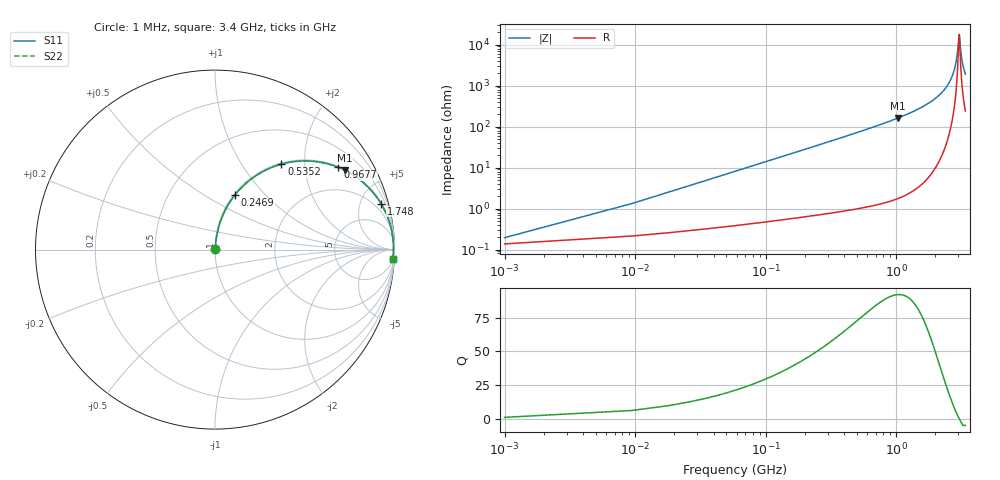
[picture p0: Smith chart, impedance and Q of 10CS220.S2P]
! Coilcraft 1008CS-220 Chip Inductor
! 02 July 2002
# MHZ S MA R 50
!Freq  MagS11  AngS11  MagS21  AngS21  MagS12  AngS12  MagS22  AngS22
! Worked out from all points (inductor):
!   402 points, 1 MHz to 3.4 GHz, reference 50 ohm
!   read as one part in series: L = 22 nH near 17.96 MHz
!   highest Q = 92.3 at 1.036 GHz (marker M1), where L = 24.9 nH
!   self-resonance near 3.045 GHz
!   S11 on the Smith chart (normalised r, x): 1 MHz: 1.00, +0.00; 246.9 MHz: 1.01, +0.69; 535.2 MHz: 1.02, +1.53; 967.7 MHz: 1.03, +2.98; 1.748 GHz: 1.11, +7.20; 3.4 GHz: 6, -38
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1  0.001943 45.2  0.9986 -0.1  0.9986 -0.1  0.001943 45.2
26.44  0.03654 83.4  0.9964 -2.1  0.9964 -2.1  0.03654 83.4
43.4  0.05979 83.3  0.9948 -3.4  0.9948 -3.4  0.05979 83.3
60.36  0.08295 82.6  0.9927 -4.8  0.9927 -4.8  0.08295 82.6
128.2  0.174 78.3  0.9797 -10.0  0.9797 -10.0  0.174 78.3
246.92  0.323 70.0  0.94 -18.8  0.94 -18.8  0.323 70.0
535.24  0.603 52.2  0.7898 -37.1  0.7898 -37.1  0.603 52.2
569.16  0.6279 50.4  0.7702 -38.9  0.7702 -38.9  0.6279 50.4
967.72  0.8258 33.7  0.5551 -55.7  0.5551 -55.7  0.8258 33.7
1035.56  0.8466 31.5  0.5231 -57.8  0.5231 -57.8  0.8466 31.5
1137.32  0.8732 28.6  0.478 -60.8  0.478 -60.8  0.8732 28.6
1705.48  0.9564 16.2  0.2786 -73.0  0.2786 -73.0  0.9564 16.2
1747.88  0.9598 15.5  0.2666 -73.7  0.2666 -73.7  0.9598 15.5
2273.64  0.986 8.0  0.1392 -80.3  0.1392 -80.3  0.986 8.0
2621.32  0.9927 4.1  0.07143 -82.1  0.07143 -82.1  0.9927 4.1
2841.8  0.9943 1.9  0.03343 -79.2  0.03343 -79.2  0.9943 1.9
2935.08  0.9945 1.0  0.01857 -72.2  0.01857 -72.2  0.9945 1.0
3045.32  0.9944 0.0  0.005631 -3.7  0.005631 -3.7  0.9944 0.0
3062.28  0.9943 -0.1  0.006092 21.6  0.006092 21.6  0.9943 -0.1
3130.12  0.9941 -0.7  0.01387 64.5  0.01387 64.5  0.9941 -0.7
3197.96  0.9937 -1.3  0.02348 73.9  0.02348 73.9  0.9937 -1.3
3400  0.9921 -3.0  0.05201 79.8  0.05201 79.8  0.9921 -3.0
